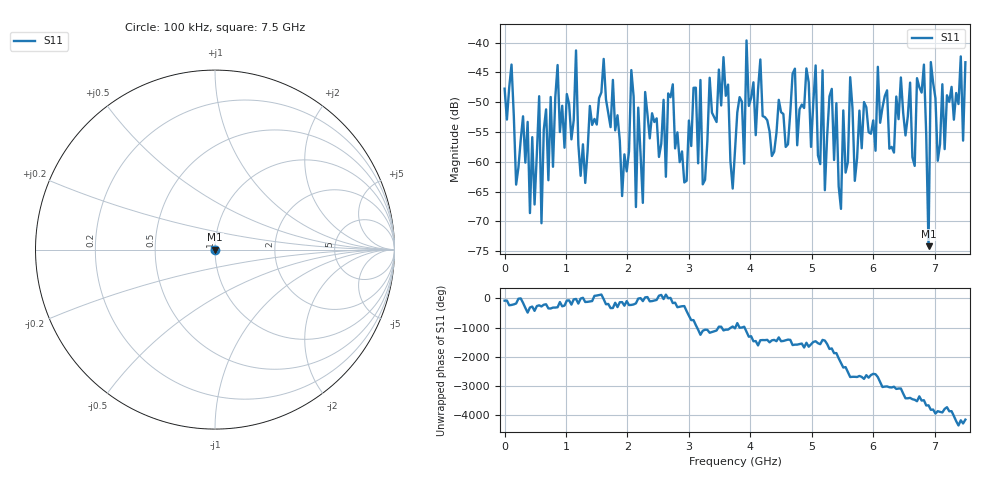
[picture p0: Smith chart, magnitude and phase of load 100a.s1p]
# Hz S RI R 50.000000
! FREQ  re:S1  1  im:S1  1
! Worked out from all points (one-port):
!   201 points, 100 kHz to 7.5 GHz, reference 50 ohm
!   lowest |S11| = -74.2 dB at 6.9 GHz (marker M1), VSWR 1.00, Z = 50 - j0.0166 ohm
!   |S11| at or under -10 dB: start of sweep to end of sweep
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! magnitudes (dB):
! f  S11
! 100 kHz  -47.7
! 412.6 MHz  -68.6
! 562.6 MHz  -49.0
! 600.1 MHz  -70.3
! 937.6 MHz  -50.6
! 1.875 GHz  -56.4
! 2.813 GHz  -55.1
! 3.188 GHz  -46.3
! 3.225 GHz  -63.8
! 3.563 GHz  -42.4
! 3.75 GHz  -58.2
! 3.9 GHz  -60.3
! 3.937 GHz  -39.6
! 4.35 GHz  -59.0
! 4.687 GHz  -45.2
! 5.137 GHz  -60.4
! 5.175 GHz  -44.6
! 5.212 GHz  -64.8
! 5.325 GHz  -47.8
! 5.475 GHz  -67.9
! 5.625 GHz  -45.8
! 5.7 GHz  -63.2
! 6.562 GHz  -52.4
! 6.825 GHz  -43.7
! 6.9 GHz  -74.2
! 6.937 GHz  -43.3
! 7.05 GHz  -59.8
! 7.5 GHz  -43.3
